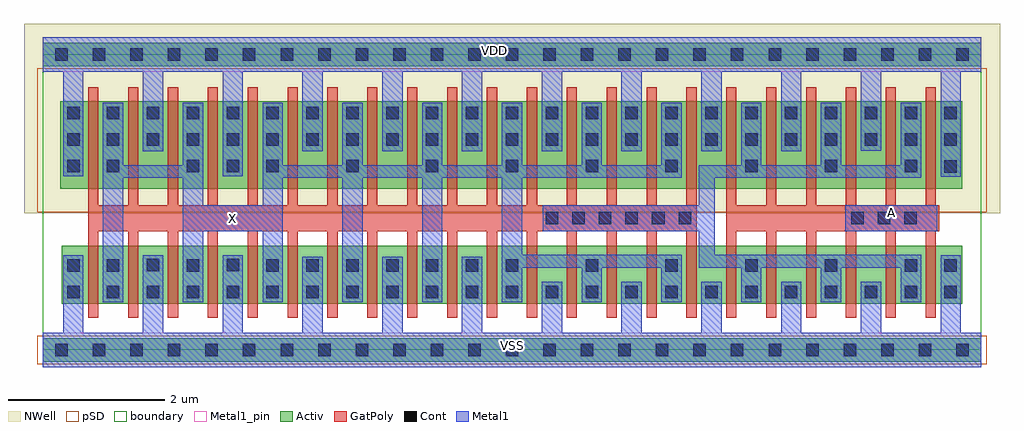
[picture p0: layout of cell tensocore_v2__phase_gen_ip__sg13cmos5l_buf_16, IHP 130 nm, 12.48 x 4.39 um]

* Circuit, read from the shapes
.subckt tensocore_v2__phase_gen_ip__sg13cmos5l_buf_16 A VDD VSS X
XM1 X n1 VSS VSS sg13_lv_nmos w=0.74u l=0.13u m=16
XM2 n1 A VSS VSS sg13_lv_nmos w=0.74u l=0.13u m=6
XM3 X n1 VDD VDD sg13_lv_pmos w=1.12u l=0.13u m=16
XM4 n1 A VDD VDD sg13_lv_pmos w=1.12u l=0.13u m=6
.ends

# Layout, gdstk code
import gdstk
lib = gdstk.Library(unit=1e-6, precision=1e-09)
def R(c, l, rs):  # rectangles x0, y0, x1, y1
    for r in rs: c.add(gdstk.rectangle(r[:2], r[2:], *l))
def A(c, l, x, y, w, h, nx, ny, dx, dy):  # array of equal rectangles
    R(c, l, [(x+i*dx, y+j*dy, x+i*dx+w, y+j*dy+h) for i in range(nx) for j in range(ny)])
def P(c, l, *ps):  # polygons
    for p in ps: c.add(gdstk.Polygon(p, *l))
Activ = (1, 0)
GatPoly = (5, 0)
Cont = (6, 0)
Metal1 = (8, 0)
Metal1_pin = (8, 2)
pSD = (14, 0)
NWell = (31, 0)
boundary = (189, 4)

tensocore_v2__phase_gen_ = lib.new_cell('tensocore_v2__phase_gen_ip__sg13cmos5l_buf_16')
R(tensocore_v2__phase_gen_, Activ, [(0,-0.15,12,0.15), (0.24,0.59,11.76,1.33), (0.225,2.06,11.76,3.18), (0,3.63,12,3.93)])
P(tensocore_v2__phase_gen_, GatPoly, [(0.58,0.41),(0.58,3.36),(0.71,3.36),(0.71,1.85),(1.09,1.85),(1.09,3.36),(1.22,3.36),(1.22,1.85),(1.6,1.85),(1.6,3.36),(1.73,3.36),(1.73,1.85),(2.11,1.85),(2.11,3.36),(2.24,3.36),(2.24,1.85),(2.62,1.85),(2.62,3.36),(2.75,3.36),(2.75,1.85),(3.13,1.85),(3.13,3.36),(3.26,3.36),(3.26,1.85),(3.64,1.85),(3.64,3.36),(3.77,3.36),(3.77,1.85),(4.15,1.85),(4.15,3.36),(4.28,3.36),(4.28,1.85),(4.66,1.85),(4.66,3.36),(4.79,3.36),(4.79,1.85),(5.17,1.85),(5.17,3.36),(5.3,3.36),(5.3,1.85),(5.68,1.85),(5.68,3.36),(5.81,3.36),(5.81,1.85),(6.19,1.85),(6.19,3.36),(6.32,3.36),(6.32,1.85),(6.7,1.85),(6.7,3.36),(6.83,3.36),(6.83,1.85),(7.21,1.85),(7.21,3.36),(7.34,3.36),(7.34,1.85),(7.72,1.85),(7.72,3.36),(7.85,3.36),(7.85,1.85),(8.23,1.85),(8.23,3.36),(8.36,3.36),(8.36,0.41),(8.23,0.41),(8.23,1.52),(7.85,1.52),(7.85,0.41),(7.72,0.41),(7.72,1.52),(7.34,1.52),(7.34,0.41),(7.21,0.41),(7.21,1.52),(6.83,1.52),(6.83,0.41),(6.7,0.41),(6.7,1.52),(6.32,1.52),(6.32,0.41),(6.19,0.41),(6.19,1.52),(5.81,1.52),(5.81,0.41),(5.68,0.41),(5.68,1.52),(5.3,1.52),(5.3,0.41),(5.17,0.41),(5.17,1.52),(4.79,1.52),(4.79,0.41),(4.66,0.41),(4.66,1.52),(4.28,1.52),(4.28,0.41),(4.15,0.41),(4.15,1.52),(3.77,1.52),(3.77,0.41),(3.64,0.41),(3.64,1.52),(3.26,1.52),(3.26,0.41),(3.13,0.41),(3.13,1.52),(2.75,1.52),(2.75,0.41),(2.62,0.41),(2.62,1.52),(2.24,1.52),(2.24,0.41),(2.11,0.41),(2.11,1.52),(1.73,1.52),(1.73,0.41),(1.6,0.41),(1.6,1.52),(1.22,1.52),(1.22,0.41),(1.09,0.41),(1.09,1.52),(0.71,1.52),(0.71,0.41)],
  [(8.74,0.41),(8.74,3.36),(8.87,3.36),(8.87,1.85),(9.25,1.85),(9.25,3.36),(9.38,3.36),(9.38,1.85),(9.76,1.85),(9.76,3.36),(9.89,3.36),(9.89,1.85),(10.27,1.85),(10.27,3.36),(10.4,3.36),(10.4,1.85),(10.78,1.85),(10.78,3.36),(10.91,3.36),(10.91,1.85),(11.29,1.85),(11.29,3.36),(11.42,3.36),(11.42,1.85),(11.46,1.85),(11.46,1.52),(11.42,1.52),(11.42,0.41),(11.29,0.41),(11.29,1.52),(10.91,1.52),(10.91,0.41),(10.78,0.41),(10.78,1.52),(10.4,1.52),(10.4,0.41),(10.27,0.41),(10.27,1.52),(9.89,1.52),(9.89,0.41),(9.76,0.41),(9.76,1.52),(9.38,1.52),(9.38,0.41),(9.25,0.41),(9.25,1.52),(8.87,1.52),(8.87,0.41)])
A(tensocore_v2__phase_gen_, Cont, 0.31, 0.66, 0.16, 0.16, 23, 2, 0.51, 1.95)
A(tensocore_v2__phase_gen_, Cont, 0.82, 1, 0.16, 0.16, 3, 1, 1.02, 0)
A(tensocore_v2__phase_gen_, Cont, 3.37, 1, 0.16, 0.16, 6, 1, 0.51, 0)
A(tensocore_v2__phase_gen_, Cont, 6.94, 1, 0.16, 0.16, 5, 1, 1.02, 0)
A(tensocore_v2__phase_gen_, Cont, 6.43, 1.605, 0.16, 0.16, 6, 1, 0.34, 0)
A(tensocore_v2__phase_gen_, Cont, 10.335, 1.605, 0.16, 0.16, 3, 1, 0.34, 0)
A(tensocore_v2__phase_gen_, Cont, 1.84, 2.27, 0.16, 0.16, 3, 1, 0.51, 0)
A(tensocore_v2__phase_gen_, Cont, 3.88, 2.27, 0.16, 0.16, 8, 1, 1.02, 0)
A(tensocore_v2__phase_gen_, Cont, 0.31, 2.95, 0.16, 0.16, 23, 1, 0.51, 0)
R(tensocore_v2__phase_gen_, Cont, [(0.16,-0.08,0.32,0.08), (0.16,-0.08,0.32,0.08), (0.64,-0.08,0.8,0.08), (0.64,-0.08,0.8,0.08), (1.12,-0.08,1.28,0.08), (1.12,-0.08,1.28,0.08), (1.6,-0.08,1.76,0.08), (1.6,-0.08,1.76,0.08), (2.08,-0.08,2.24,0.08), (2.08,-0.08,2.24,0.08), (2.56,-0.08,2.72,0.08), (2.56,-0.08,2.72,0.08), (3.04,-0.08,3.2,0.08), (3.04,-0.08,3.2,0.08), (3.52,-0.08,3.68,0.08), (3.52,-0.08,3.68,0.08), (4,-0.08,4.16,0.08), (4,-0.08,4.16,0.08), (4.48,-0.08,4.64,0.08), (4.48,-0.08,4.64,0.08), (4.96,-0.08,5.12,0.08), (4.96,-0.08,5.12,0.08), (5.44,-0.08,5.6,0.08), (5.44,-0.08,5.6,0.08), (5.92,-0.08,6.08,0.08), (5.92,-0.08,6.08,0.08), (6.4,-0.08,6.56,0.08), (6.4,-0.08,6.56,0.08), (6.88,-0.08,7.04,0.08), (6.88,-0.08,7.04,0.08), (7.36,-0.08,7.52,0.08), (7.36,-0.08,7.52,0.08), (7.84,-0.08,8,0.08), (7.84,-0.08,8,0.08), (8.32,-0.08,8.48,0.08), (8.32,-0.08,8.48,0.08), (8.8,-0.08,8.96,0.08), (8.8,-0.08,8.96,0.08), (9.28,-0.08,9.44,0.08), (9.28,-0.08,9.44,0.08), (9.76,-0.08,9.92,0.08), (9.76,-0.08,9.92,0.08), (10.24,-0.08,10.4,0.08), (10.24,-0.08,10.4,0.08), (10.72,-0.08,10.88,0.08), (10.72,-0.08,10.88,0.08), (11.2,-0.08,11.36,0.08), (11.2,-0.08,11.36,0.08), (11.68,-0.08,11.84,0.08), (11.68,-0.08,11.84,0.08), (0.31,1,0.47,1.16), (11.53,1,11.69,1.16), (1.33,1.005,1.49,1.165), (2.35,1.005,2.51,1.165), (11.53,2.265,11.69,2.425), (0.31,2.27,0.47,2.43), (0.82,2.27,0.98,2.43), (0.16,3.7,0.32,3.86), (0.16,3.7,0.32,3.86), (0.64,3.7,0.8,3.86), (0.64,3.7,0.8,3.86), (1.12,3.7,1.28,3.86), (1.12,3.7,1.28,3.86), (1.6,3.7,1.76,3.86), (1.6,3.7,1.76,3.86), (2.08,3.7,2.24,3.86), (2.08,3.7,2.24,3.86), (2.56,3.7,2.72,3.86), (2.56,3.7,2.72,3.86), (3.04,3.7,3.2,3.86), (3.04,3.7,3.2,3.86), (3.52,3.7,3.68,3.86), (3.52,3.7,3.68,3.86), (4,3.7,4.16,3.86), (4,3.7,4.16,3.86), (4.48,3.7,4.64,3.86), (4.48,3.7,4.64,3.86), (4.96,3.7,5.12,3.86), (4.96,3.7,5.12,3.86), (5.44,3.7,5.6,3.86), (5.44,3.7,5.6,3.86), (5.92,3.7,6.08,3.86), (5.92,3.7,6.08,3.86), (6.4,3.7,6.56,3.86), (6.4,3.7,6.56,3.86), (6.88,3.7,7.04,3.86), (6.88,3.7,7.04,3.86), (7.36,3.7,7.52,3.86), (7.36,3.7,7.52,3.86), (7.84,3.7,8,3.86), (7.84,3.7,8,3.86), (8.32,3.7,8.48,3.86), (8.32,3.7,8.48,3.86), (8.8,3.7,8.96,3.86), (8.8,3.7,8.96,3.86), (9.28,3.7,9.44,3.86), (9.28,3.7,9.44,3.86), (9.76,3.7,9.92,3.86), (9.76,3.7,9.92,3.86), (10.24,3.7,10.4,3.86), (10.24,3.7,10.4,3.86), (10.72,3.7,10.88,3.86), (10.72,3.7,10.88,3.86), (11.2,3.7,11.36,3.86), (11.2,3.7,11.36,3.86), (11.68,3.7,11.84,3.86), (11.68,3.7,11.84,3.86)])
R(tensocore_v2__phase_gen_, Metal1, [(10.26,1.52,11.44,1.85)])
P(tensocore_v2__phase_gen_, Metal1, [(0.77,0.61),(0.77,3.16),(1.03,3.16),(1.03,2.36),(1.79,2.36),(1.79,3.16),(2.05,3.16),(2.05,1.85),(2.81,1.85),(2.81,3.16),(3.07,3.16),(3.07,2.36),(3.83,2.36),(3.83,3.16),(4.09,3.16),(4.09,2.36),(4.85,2.36),(4.85,3.16),(5.11,3.16),(5.11,2.36),(5.87,2.36),(5.87,3.16),(6.13,3.16),(6.13,2.36),(6.89,2.36),(6.89,3.16),(7.15,3.16),(7.15,2.36),(7.91,2.36),(7.91,3.16),(8.17,3.16),(8.17,2.2),(6.13,2.2),(6.13,1.22),(8.17,1.22),(8.17,0.61),(7.91,0.61),(7.91,1.05),(7.15,1.05),(7.15,0.61),(6.89,0.61),(6.89,1.05),(6.13,1.05),(6.13,0.61),(5.87,0.61),(5.87,2.2),(5.11,2.2),(5.11,0.61),(4.85,0.61),(4.85,2.2),(4.09,2.2),(4.09,0.61),(3.83,0.61),(3.83,2.2),(3.07,2.2),(3.07,0.61),(2.81,0.61),(2.81,1.52),(2.05,1.52),(2.05,0.61),(1.79,0.61),(1.79,2.2),(1.03,2.2),(1.03,0.61)],
  [(8.93,0.61),(8.93,1.05),(8.385,1.05),(8.385,1.52),(6.395,1.52),(6.395,1.85),(8.385,1.85),(8.385,2.36),(8.93,2.36),(8.93,3.16),(9.19,3.16),(9.19,2.36),(9.95,2.36),(9.95,3.16),(10.21,3.16),(10.21,2.36),(10.97,2.36),(10.97,3.16),(11.23,3.16),(11.23,2.2),(8.595,2.2),(8.595,1.22),(11.23,1.22),(11.23,0.61),(10.97,0.61),(10.97,1.05),(10.21,1.05),(10.21,0.61),(9.95,0.61),(9.95,1.05),(9.19,1.05),(9.19,0.61)],
  [(11.48,2.215),(11.48,3.56),(10.72,3.56),(10.72,2.545),(10.46,2.545),(10.46,3.56),(9.7,3.56),(9.7,2.54),(9.44,2.54),(9.44,3.56),(8.68,3.56),(8.68,2.54),(8.42,2.54),(8.42,3.56),(7.66,3.56),(7.66,2.54),(7.4,2.54),(7.4,3.56),(6.64,3.56),(6.64,2.54),(6.38,2.54),(6.38,3.56),(5.62,3.56),(5.62,2.54),(5.36,2.54),(5.36,3.56),(4.6,3.56),(4.6,2.54),(4.34,2.54),(4.34,3.56),(3.58,3.56),(3.58,2.54),(3.32,2.54),(3.32,3.56),(2.56,3.56),(2.56,2.22),(2.3,2.22),(2.3,3.56),(1.54,3.56),(1.54,2.54),(1.28,2.54),(1.28,3.56),(0.52,3.56),(0.52,2.22),(0.26,2.22),(0.26,3.56),(0,3.56),(0,4),(12,4),(12,3.56),(11.74,3.56),(11.74,2.215)],
  [(0,-0.22),(0,0.22),(0.26,0.22),(0.26,1.21),(0.52,1.21),(0.52,0.22),(1.28,0.22),(1.28,1.21),(1.54,1.21),(1.54,0.22),(2.3,0.22),(2.3,1.21),(2.56,1.21),(2.56,0.22),(3.32,0.22),(3.32,1.195),(3.58,1.195),(3.58,0.22),(4.34,0.22),(4.34,1.195),(4.6,1.195),(4.6,0.22),(5.36,0.22),(5.36,1.195),(5.62,1.195),(5.62,0.22),(6.38,0.22),(6.38,0.87),(6.64,0.87),(6.64,0.22),(7.4,0.22),(7.4,0.87),(7.66,0.87),(7.66,0.22),(8.42,0.22),(8.42,0.87),(8.685,0.87),(8.685,0.22),(9.44,0.22),(9.44,0.87),(9.7,0.87),(9.7,0.22),(10.46,0.22),(10.46,0.87),(10.72,0.87),(10.72,0.22),(11.48,0.22),(11.48,1.21),(11.74,1.21),(11.74,0.22),(12,0.22),(12,-0.22)])
R(tensocore_v2__phase_gen_, Metal1_pin, [(0,-0.22,12,0.22), (1.79,1.52,3.07,1.85), (10.26,1.52,11.44,1.85), (0,3.56,12,4)])
R(tensocore_v2__phase_gen_, pSD, [(-0.07,-0.18,12.07,0.18), (-0.07,1.76,12.07,3.6)])
R(tensocore_v2__phase_gen_, NWell, [(-0.24,1.75,12.24,4.17)])
R(tensocore_v2__phase_gen_, boundary, [(0,0,12,3.78)])
tensocore_v2__phase_gen_.add(gdstk.Label('X', (2.42,1.68), layer=8, texttype=25))
tensocore_v2__phase_gen_.add(gdstk.Label('A', (10.855,1.755), layer=8, texttype=25))
tensocore_v2__phase_gen_.add(gdstk.Label('VSS', (6.01,0.055), layer=8, texttype=25))
tensocore_v2__phase_gen_.add(gdstk.Label('VDD', (5.78,3.835), layer=8, texttype=25))

lib.write_gds('tensocore_v2__phase_gen_ip__sg13cmos5l_buf_16.gds')
